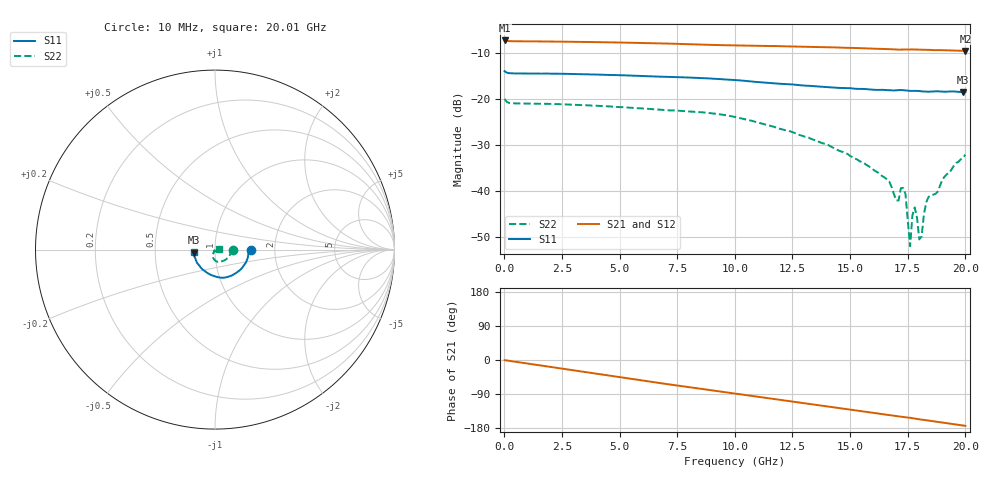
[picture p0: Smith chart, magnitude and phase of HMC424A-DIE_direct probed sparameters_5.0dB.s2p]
!s2p File: Measurements: S11, S21, S12, S22
# GHz S dB R 50.0
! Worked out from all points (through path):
!   201 points, 10 MHz to 20.01 GHz, reference 50 ohm
!   highest |S21| = -7.30 dB at 10 MHz (marker M1); lowest = -9.6 dB at 20.01 GHz (marker M2)
!   group delay of S21, straight-line fit = 23.9 ps
!   lowest |S11| = -18.5 dB at 19.91 GHz (marker M3), VSWR 1.27, Z = 39.5 - j1.41 ohm
!   |S11| at or under -10 dB: start of sweep to end of sweep
!   |S22| runs from -52.0 to -20.0 dB; largest |S21 - S12| = 0.0025
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0.01  -13.98 -1.0  -7.30 -0.4  -7.30 -0.4  -20.01 -1.8
3.41  -14.64 -24.9  -7.62 -31.1  -7.62 -31.1  -21.35 -29.9
6.71  -15.16 -49.5  -7.93 -60.5  -7.93 -60.5  -22.32 -56.6
10.01  -15.90 -77.4  -8.37 -88.5  -8.38 -88.5  -23.92 -86.6
13.41  -17.22 -106.8  -8.70 -117.5  -8.72 -117.4  -28.87 -109.6
16.71  -18.11 -138.6  -9.19 -145.6  -9.18 -145.5  -37.99 -117.3
17.01  -18.12 -141.0  -9.26 -148.0  -9.22 -147.9  -42.07 -106.4
17.11  -18.09 -142.0  -9.29 -148.8  -9.23 -148.7  -42.09 -90.1
17.21  -18.07 -143.4  -9.28 -149.5  -9.25 -149.6  -39.40 -89.4
17.41  -18.16 -145.9  -9.26 -151.0  -9.28 -151.3  -40.69 -121.5
17.61  -18.26 -147.6  -9.25 -152.6  -9.28 -153.0  -52.01 -75.4
17.71  -18.27 -148.3  -9.25 -153.6  -9.29 -153.7  -45.30 -51.6
17.81  -18.26 -149.2  -9.27 -154.5  -9.30 -154.5  -43.59 -60.8
17.91  -18.26 -150.2  -9.28 -155.6  -9.32 -155.4  -45.83 -73.2
18.01  -18.29 -151.8  -9.30 -156.5  -9.34 -156.2  -50.54 -58.6
18.11  -18.37 -152.8  -9.31 -157.4  -9.35 -157.1  -49.88 -3.7
18.21  -18.39 -153.9  -9.32 -158.2  -9.36 -158.0  -45.07 2.6
18.41  -18.44 -155.9  -9.34 -159.9  -9.37 -159.7  -41.31 -5.0
18.81  -18.34 -160.3  -9.40 -163.3  -9.42 -163.0  -40.17 7.0
19.01  -18.42 -162.6  -9.41 -165.1  -9.44 -164.9  -37.53 12.2
19.91  -18.53 -171.5  -9.53 -172.8  -9.55 -172.7  -32.81 10.0
20.01  -18.52 -172.3  -9.56 -173.7  -9.55 -173.5  -32.12 9.0
